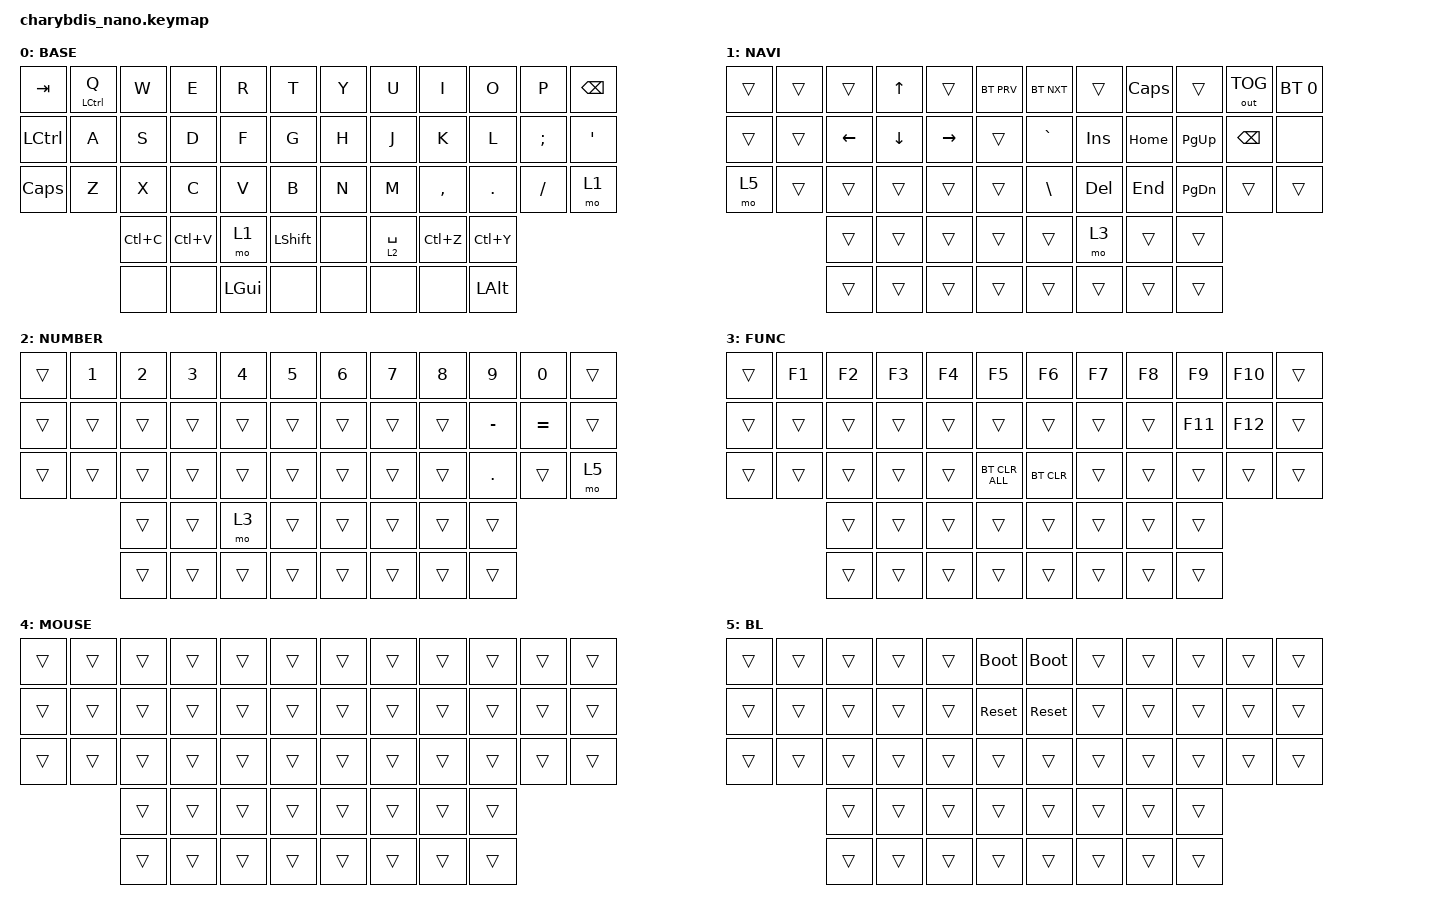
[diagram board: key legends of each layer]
#include <behaviors/mouse_keys.dtsi>
#include <dt-bindings/zmk/mouse.h>
#include <dt-bindings/zmk/runtime_input_processor.h>
#include <dt-bindings/input/input-event-codes.h>
#include <behaviors/runtime-input-processor.dtsi>
#include <behaviors.dtsi>
#include <dt-bindings/zmk/bt.h>
#include <dt-bindings/zmk/keys.h>
#include <dt-bindings/zmk/outputs.h>
#include <dt-bindings/zmk/pointing.h>

#define BASE 0
#define NAVI  1
#define NUMBER  2
#define FUNC  3
#define MOUSE   4
#define BL   5

&lt {
    tapping-term-ms = <200>;
    flavor = "balanced";
    quick-tap-ms = <170>;
};

&mt {
    tapping-term-ms = <130>;
    flavor = "balanced";
    quick-tap-ms = <130>;
};

/ {
    behaviors {
        td0: tap_dance_0 {
            compatible = "zmk,behavior-tap-dance";
            label = "L_CLK";
            #binding-cells = <0>;
            tapping-term-ms = <200>;
            bindings = <&mkp LCLK>, <&mkp LCLK>;
        };

        td1: tap_dance_1 {
            compatible = "zmk,behavior-tap-dance";
            label = "M_CLK";
            #binding-cells = <0>;
            tapping-term-ms = <200>;
            bindings = <&mkp MCLK>, <&mkp MCLK>;
        };

        td2: tap_dance_2 {
            compatible = "zmk,behavior-tap-dance";
            label = "R_CLK";
            #binding-cells = <0>;
            tapping-term-ms = <200>;
            bindings = <&mkp RCLK>, <&mkp RCLK>;
        };
    };

    combos {
        compatible = "zmk,combos";

        LeftClick {
            timeout-ms = <50>;
            key-positions = <20 21>;
            bindings = <&mkp LCLK>;
            slow-release;
        };

        RightClick {
            timeout-ms = <50>;
            key-positions = <32 33>;
            bindings = <&mkp RCLK>;
            slow-release;
        };

        MiddleClick {
            timeout-ms = <50>;
            key-positions = <8 9>;
            bindings = <&mkp MCLK>;
            slow-release;
        };

        PareLeft {
            timeout-ms = <50>;
            key-positions = <7 8>;
            bindings = <&kp LEFT_PARENTHESIS>;
            slow-release;
        };

        PareRight {
            timeout-ms = <50>;
            key-positions = <9 10>;
            bindings = <&kp RIGHT_PARENTHESIS>;
            slow-release;
        };

        BrakLeft {
            bindings = <&kp LEFT_BRACKET>;
            key-positions = <31 32>;
            timeout-ms = <50>;
            slow-release;
        };

        BrakRight {
            bindings = <&kp RIGHT_BRACKET>;
            key-positions = <33 34>;
            timeout-ms = <50>;
            slow-release;
        };

        Enter {
            bindings = <&kp ENTER>;
            key-positions = <19 20>;
            timeout-ms = <50>;
            slow-release;
        };

        Tab {
            bindings = <&kp TAB>;
            key-positions = <13 14>;
            timeout-ms = <50>;
            slow-release;
        };

        Esc {
            bindings = <&kp ESCAPE>;
            key-positions = <1 2>;
            timeout-ms = <50>;
            slow-release;
        };

        Quote {
            bindings = <&kp SINGLE_QUOTE>;
            key-positions = <21 22>;
            timeout-ms = <50>;
            slow-release;
        };

        Colon {
            bindings = <&kp COLON>;
            key-positions = <16 15>;
            timeout-ms = <50>;
            slow-release;
        };

        Ctrl_A {
            bindings = <&kp LC(A)>;
            key-positions = <27 13>;
            timeout-ms = <50>;
            slow-release;
        };

        Ctrl_Z {
            bindings = <&kp LC(Z)>;
            key-positions = <27 25>;
            timeout-ms = <50>;
            slow-release;
        };

        Ctrl_V {
            bindings = <&kp LC(V)>;
            key-positions = <27 28>;
            timeout-ms = <50>;
            slow-release;
        };

        Ctrl_Q {
            bindings = <&kp LC(Q)>;
            key-positions = <1 27>;
            timeout-ms = <50>;
            slow-release;
        };

        Ctrl_X {
            bindings = <&kp LC(X)>;
            key-positions = <27 26>;
            timeout-ms = <50>;
            slow-release;
        };
    };

    keymap {
        compatible = "zmk,keymap";

        base_layer {
            label = "BASE";
            bindings = <
&kp TAB           &mt LCTRL Q  &kp W      &kp E      &kp R     &kp T           &kp Y  &kp U        &kp I      &kp O      &kp P     &kp BACKSPACE
&kp LEFT_CONTROL  &kp A        &kp S      &kp D      &kp F     &kp G           &kp H  &kp J        &kp K      &kp L      &kp SEMI  &kp SQT
&kp CAPSLOCK      &kp Z        &kp X      &kp C      &kp V     &kp B           &kp N  &kp M        &kp COMMA  &kp DOT    &kp FSLH  &mo 1
                               &kp LC(C)  &kp LC(V)  &mo 1     &kp LEFT_SHIFT  &none  &lt 2 SPACE  &kp LC(Z)  &kp LC(Y)
                               &none      &none      &kp LGUI  &none           &none  &none        &none      &kp LALT
            >;
        };

        navi_layer {
            label = "NAVI";
            bindings = <
&trans  &trans  &trans    &kp UP_ARROW  &trans     &bt BT_PRV  &bt BT_NXT     &trans   &kp CAPSLOCK  &trans         &out OUT_TOG   &bt BT_SEL 0
&trans  &trans  &kp LEFT  &kp DOWN      &kp RIGHT  &trans      &kp GRAVE      &kp INS  &kp HOME      &kp PAGE_UP    &kp BACKSPACE  &none
&mo 5   &trans  &trans    &trans        &trans     &trans      &kp BACKSLASH  &kp DEL  &kp END       &kp PAGE_DOWN  &trans         &trans
                &trans    &trans        &trans     &trans      &trans         &mo 3    &trans        &trans
                &trans    &trans        &trans     &trans      &trans         &trans   &trans        &trans
            >;
        };

        number_layer {
            label = "NUMBER";
            bindings = <
&trans  &kp N1  &kp N2  &kp N3  &kp N4  &kp N5  &kp N6  &kp N7  &kp N8  &kp N9     &kp N0     &trans
&trans  &trans  &trans  &trans  &trans  &trans  &trans  &trans  &trans  &kp MINUS  &kp EQUAL  &trans
&trans  &trans  &trans  &trans  &trans  &trans  &trans  &trans  &trans  &kp DOT    &trans     &mo 5
                &trans  &trans  &mo 3   &trans  &trans  &trans  &trans  &trans
                &trans  &trans  &trans  &trans  &trans  &trans  &trans  &trans
            >;
        };

        func_layer {
            label = "FUNC";
            bindings = <
&trans  &kp F1  &kp F2  &kp F3  &kp F4  &kp F5          &kp F6      &kp F7  &kp F8  &kp F9   &kp F10  &trans
&trans  &trans  &trans  &trans  &trans  &trans          &trans      &trans  &trans  &kp F11  &kp F12  &trans
&trans  &trans  &trans  &trans  &trans  &bt BT_CLR_ALL  &bt BT_CLR  &trans  &trans  &trans   &trans   &trans
                &trans  &trans  &trans  &trans          &trans      &trans  &trans  &trans
                &trans  &trans  &trans  &trans          &trans      &trans  &trans  &trans
            >;
        };

        mouse_layer {
            label = "MOUSE";
            bindings = <
&trans  &trans  &trans  &trans  &trans  &trans  &trans  &trans  &trans  &trans  &trans  &trans
&trans  &trans  &trans  &trans  &trans  &trans  &trans  &trans  &trans  &trans  &trans  &trans
&trans  &trans  &trans  &trans  &trans  &trans  &trans  &trans  &trans  &trans  &trans  &trans
                &trans  &trans  &trans  &trans  &trans  &trans  &trans  &trans
                &trans  &trans  &trans  &trans  &trans  &trans  &trans  &trans
            >;
        };

        bl_layer {
            label = "BL";
            bindings = <
&trans  &trans  &trans  &trans  &trans  &bootloader  &bootloader  &trans  &trans  &trans  &trans  &trans
&trans  &trans  &trans  &trans  &trans  &sys_reset   &sys_reset   &trans  &trans  &trans  &trans  &trans
&trans  &trans  &trans  &trans  &trans  &trans       &trans       &trans  &trans  &trans  &trans  &trans
                &trans  &trans  &trans  &trans       &trans       &trans  &trans  &trans
                &trans  &trans  &trans  &trans       &trans       &trans  &trans  &trans
            >;
        };
    };
};

&mouse_runtime_input_processor {
    temp-layer-enabled;
    temp-layer = <4>;
    temp-layer-activation-delay-ms = <200>;
    temp-layer-deactivation-delay-ms = <400>;
};

&scroll_runtime_input_processor {
    active-layers = <BIT(1)>;
    x-codes = <INPUT_REL_X>;
    y-codes = <INPUT_REL_Y>;
    xy-to-scroll-enabled;
    axis-snap-threshold = <100>;
};
